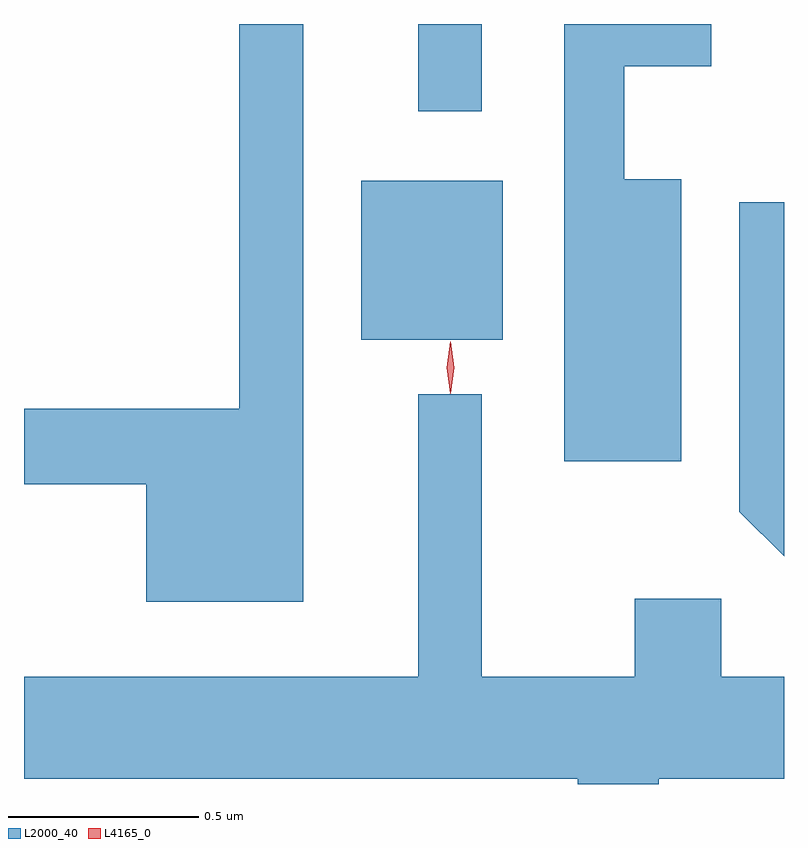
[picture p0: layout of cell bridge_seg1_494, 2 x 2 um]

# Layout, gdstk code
import gdstk
lib = gdstk.Library(unit=1e-6, precision=1e-09)
def R(c, l, rs):  # rectangles x0, y0, x1, y1
    for r in rs: c.add(gdstk.rectangle(r[:2], r[2:], *l))
def P(c, l, *ps):  # polygons
    for p in ps: c.add(gdstk.Polygon(p, *l))
L2000_40 = (2000, 40)
L4165_0 = (4165, 0)

bridge_seg1_494 = lib.new_cell('bridge_seg1_494')
R(bridge_seg1_494, L2000_40, [(216.971,876.311,217.344,876.729), (217.121,876.913,217.289,877.142)])
P(bridge_seg1_494, L2000_40, [(216.819,877.142),(216.651,877.142),(216.651,876.129),(216.084,876.129),(216.084,875.931),(216.406,875.931),(216.406,875.621),(216.819,875.621)],
  [(217.814,876.734),(217.664,876.734),(217.664,877.031),(217.893,877.031),(217.893,877.142),(217.506,877.142),(217.506,875.991),(217.814,875.991)],
  [(218.084,876.673),(217.966,876.673),(217.966,875.859),(218.084,875.741)],
  [(217.754,875.156),(218.084,875.156),(218.084,875.424),(217.919,875.424),(217.919,875.629),(217.691,875.629),(217.691,875.424),(217.289,875.424),(217.289,876.168),(217.121,876.168),(217.121,875.424),(216.084,875.424),(216.084,875.156),(217.541,875.156),(217.541,875.142),(217.754,875.142)])
P(bridge_seg1_494, L4165_0, [(217.206,876.173),(217.206,876.173),(217.196,876.237),(217.206,876.301),(217.206,876.302),(217.207,876.301),(217.216,876.237),(217.207,876.173)],
  [(217.206,876.169),(217.206,876.17),(217.196,876.238),(217.206,876.306),(217.206,876.306),(217.207,876.306),(217.216,876.238),(217.207,876.17)])

lib.write_gds('bridge_seg1_494.gds')
